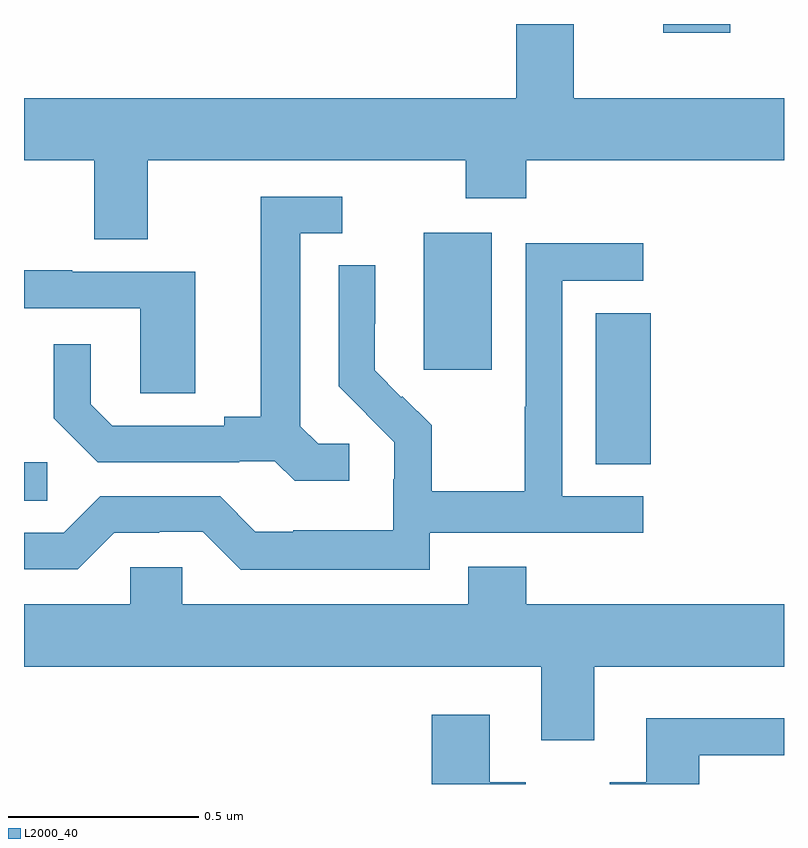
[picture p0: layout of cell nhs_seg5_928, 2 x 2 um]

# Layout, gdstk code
import gdstk
lib = gdstk.Library(unit=1e-6, precision=1e-09)
def R(c, l, rs):  # rectangles x0, y0, x1, y1
    for r in rs: c.add(gdstk.rectangle(r[:2], r[2:], *l))
def P(c, l, *ps):  # polygons
    for p in ps: c.add(gdstk.Polygon(p, *l))
L2000_40 = (2000, 40)

nhs_seg5_928 = lib.new_cell('nhs_seg5_928')
R(nhs_seg5_928, L2000_40, [(123,842.545,123.061,842.646), (124.505,842.641,124.649,843.038), (124.052,842.889,124.231,843.25), (124.682,843.776,124.858,843.799)])
P(nhs_seg5_928, L2000_40, [(123.325,843.44),(124.162,843.44),(124.162,843.341),(124.322,843.341),(124.322,843.44),(125,843.44),(125,843.604),(124.447,843.604),(124.447,843.799),(124.295,843.799),(124.295,843.604),(123,843.604),(123,843.44),(123.185,843.44),(123.185,843.232),(123.325,843.232)],
  [(123.856,842.694),(123.774,842.694),(123.727,842.741),(123.727,843.249),(123.838,843.249),(123.838,843.345),(123.623,843.345),(123.623,842.765),(123.527,842.765),(123.527,842.742),(123.232,842.742),(123.175,842.799),(123.175,842.956),(123.078,842.956),(123.078,842.762),(123.194,842.646),(123.566,842.646),(123.566,842.649),(123.66,842.649),(123.712,842.597),(123.856,842.597)],
  [(124.068,842.46),(124.63,842.46),(124.63,842.556),(124.416,842.556),(124.416,843.123),(124.63,843.123),(124.63,843.222),(124.32,843.222),(124.32,842.792),(124.318,842.792),(124.318,842.569),(124.073,842.569),(124.073,842.743),(123.996,842.82),(123.993,842.817),(123.923,842.888),(123.923,843.01),(123.924,843.01),(123.924,843.164),(123.828,843.164),(123.828,842.846),(123.901,842.773),(123.9,842.772),(123.974,842.698),(123.974,842.601),(123.972,842.601),(123.972,842.467),(123.709,842.467),(123.709,842.463),(123.609,842.463),(123.516,842.556),(123.201,842.556),(123.105,842.46),(123,842.46),(123,842.364),(123.141,842.364),(123.237,842.46),(123.356,842.46),(123.356,842.463),(123.471,842.463),(123.571,842.363),(124.068,842.363)],
  [(123.451,843.147),(123.127,843.147),(123.127,843.151),(123,843.151),(123,843.051),(123.306,843.051),(123.306,842.827),(123.451,842.827)],
  [(124.501,842.108),(125,842.108),(125,842.272),(124.322,842.272),(124.322,842.371),(124.169,842.371),(124.169,842.272),(123.417,842.272),(123.417,842.37),(123.279,842.37),(123.279,842.272),(123,842.272),(123,842.108),(124.361,842.108),(124.361,841.914),(124.501,841.914)],
  [(124.321,841.804),(124.225,841.804),(124.225,841.981),(124.073,841.981),(124.073,841.799),(124.321,841.799)],
  [(124.777,841.875),(125,841.875),(125,841.972),(124.637,841.972),(124.637,841.804),(124.541,841.804),(124.541,841.799),(124.777,841.799)])

lib.write_gds('nhs_seg5_928.gds')
